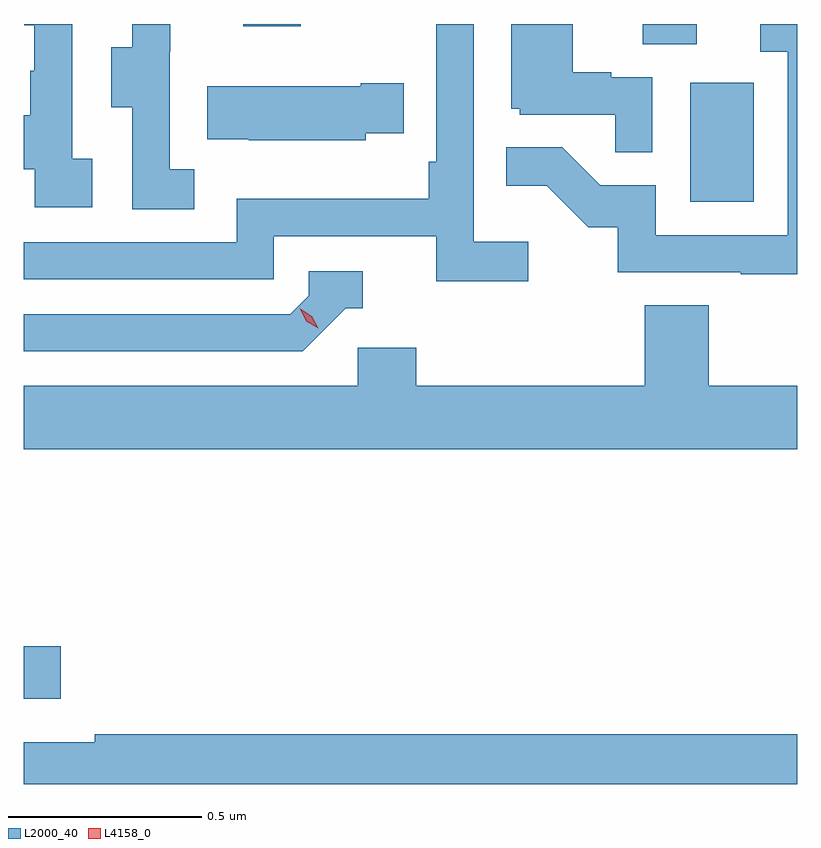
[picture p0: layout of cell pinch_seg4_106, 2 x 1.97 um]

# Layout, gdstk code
import gdstk
lib = gdstk.Library(unit=1e-6, precision=1e-09)
def R(c, l, rs):  # rectangles x0, y0, x1, y1
    for r in rs: c.add(gdstk.rectangle(r[:2], r[2:], *l))
def P(c, l, *ps):  # polygons
    for p in ps: c.add(gdstk.Polygon(p, *l))
L2000_40 = (2000, 40)
L4158_0 = (4158, 0)

pinch_seg4_106 = lib.new_cell('pinch_seg4_106')
R(pinch_seg4_106, L2000_40, [(1033.435,806.831,1033.531,806.966), (1035.158,808.116,1035.322,808.423), (1035.035,808.522,1035.175,808.575), (1034.003,808.569,1034.151,808.575)])
P(pinch_seg4_106, L2000_40, [(1035.435,808.575),(1035.339,808.575),(1035.339,808.503),(1035.411,808.503),(1035.411,808.029),(1035.069,808.029),(1035.069,808.158),(1034.925,808.158),(1034.827,808.256),(1034.683,808.256),(1034.683,808.157),(1034.787,808.157),(1034.894,808.05),(1034.971,808.05),(1034.971,807.933),(1035.289,807.933),(1035.289,807.928),(1035.435,807.928)],
  [(1034.74,808.012),(1034.598,808.012),(1034.598,808.575),(1034.502,808.575),(1034.502,808.219),(1034.482,808.219),(1034.482,808.123),(1033.986,808.123),(1033.986,808.011),(1033.435,808.011),(1033.435,807.915),(1034.082,807.915),(1034.082,808.026),(1034.501,808.026),(1034.501,807.91),(1034.74,807.91)],
  [(1033.876,808.199),(1033.812,808.199),(1033.812,808.503),(1033.814,808.503),(1033.814,808.575),(1033.715,808.575),(1033.715,808.515),(1033.661,808.515),(1033.661,808.36),(1033.716,808.36),(1033.716,808.096),(1033.876,808.096)],
  [(1033.612,808.226),(1033.56,808.226),(1033.56,808.575),(1033.436,808.575),(1033.436,808.572),(1033.462,808.572),(1033.462,808.454),(1033.452,808.454),(1033.452,808.339),(1033.435,808.339),(1033.435,808.199),(1033.464,808.199),(1033.464,808.101),(1033.612,808.101)],
  [(1035.06,808.437),(1034.954,808.437),(1034.954,808.45),(1034.854,808.45),(1034.854,808.575),(1034.696,808.575),(1034.696,808.356),(1034.718,808.356),(1034.718,808.341),(1034.965,808.341),(1034.965,808.243),(1035.06,808.243)],
  [(1034.319,808.292),(1034.417,808.292),(1034.417,808.422),(1034.306,808.422),(1034.306,808.414),(1033.909,808.414),(1033.909,808.277),(1034.017,808.277),(1034.017,808.274),(1034.319,808.274)],
  [(1034.268,807.84),(1034.311,807.84),(1034.311,807.936),(1034.172,807.936),(1034.172,807.873),(1034.124,807.825),(1033.435,807.825),(1033.435,807.729),(1034.157,807.729)],
  [(1035.435,807.64),(1035.206,807.64),(1035.206,807.848),(1035.041,807.848),(1035.041,807.64),(1034.45,807.64),(1034.45,807.738),(1034.298,807.738),(1034.298,807.64),(1033.435,807.64),(1033.435,807.476),(1035.435,807.476)],
  [(1035.435,806.738),(1033.618,806.738),(1033.618,806.718),(1033.435,806.718),(1033.435,806.61),(1035.435,806.61)])
P(pinch_seg4_106, L4158_0, [(1034.196,807.788),(1034.165,807.807),(1034.149,807.84),(1034.149,807.84),(1034.149,807.84),(1034.18,807.82),(1034.196,807.788),(1034.196,807.788)])

lib.write_gds('pinch_seg4_106.gds')
